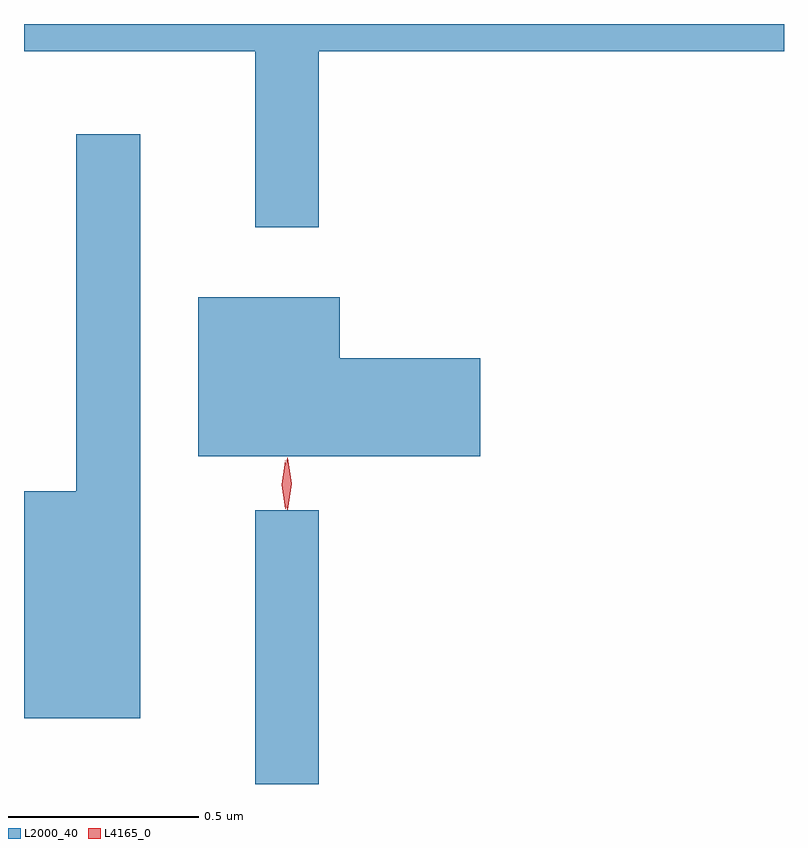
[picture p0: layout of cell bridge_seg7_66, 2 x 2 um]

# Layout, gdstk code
import gdstk
lib = gdstk.Library(unit=1e-6, precision=1e-09)
def R(c, l, rs):  # rectangles x0, y0, x1, y1
    for r in rs: c.add(gdstk.rectangle(r[:2], r[2:], *l))
def P(c, l, *ps):  # polygons
    for p in ps: c.add(gdstk.Polygon(p, *l))
L2000_40 = (2000, 40)
L4165_0 = (4165, 0)

bridge_seg7_66 = lib.new_cell('bridge_seg7_66')
R(bridge_seg7_66, L2000_40, [(1560.221,1759.008,1560.389,1759.728)])
P(bridge_seg7_66, L2000_40, [(1560.389,1760.936),(1561.613,1760.936),(1561.613,1761.008),(1559.613,1761.008),(1559.613,1760.936),(1560.221,1760.936),(1560.221,1760.473),(1560.389,1760.473)],
  [(1559.919,1760.718),(1559.751,1760.718),(1559.751,1759.779),(1559.613,1759.779),(1559.613,1759.181),(1559.919,1759.181)],
  [(1560.814,1760.129),(1560.444,1760.129),(1560.444,1760.289),(1560.071,1760.289),(1560.071,1759.871),(1560.814,1759.871)])
P(bridge_seg7_66, L4165_0, [(1560.301,1759.733),(1560.301,1759.733),(1560.291,1759.796),(1560.3,1759.859),(1560.301,1759.86),(1560.301,1759.859),(1560.311,1759.796),(1560.302,1759.733)],
  [(1560.306,1759.73),(1560.297,1759.798),(1560.306,1759.866),(1560.307,1759.866),(1560.307,1759.866),(1560.317,1759.798),(1560.307,1759.73),(1560.307,1759.73)])

lib.write_gds('bridge_seg7_66.gds')
